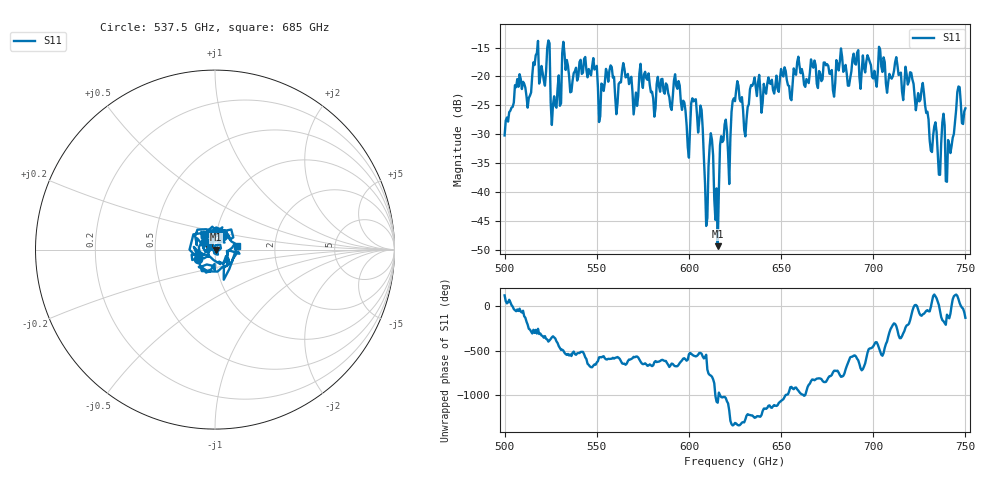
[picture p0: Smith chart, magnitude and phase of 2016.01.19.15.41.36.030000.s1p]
!Created with skrf (http://scikit-rf.org).
# GHz S RI R 50.0
!freq ReS11 ImS11
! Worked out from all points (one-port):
!   401 points, 500 GHz to 750 GHz, reference 50 ohm
!   lowest |S11| = -49.4 dB at 615.6 GHz (marker M1), VSWR 1.01, Z = 50.3 - j0.0199 ohm
!   |S11| at or under -10 dB: start of sweep to end of sweep
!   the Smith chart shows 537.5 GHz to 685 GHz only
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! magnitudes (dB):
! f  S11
! 500 GHz  -30.2
! 506.9 GHz  -20.5
! 513.1 GHz  -23.7
! 516.9 GHz  -16.3
! 523.1 GHz  -15.1
! 526.9 GHz  -23.4
! 531.2 GHz  -16.0
! 562.5 GHz  -21.0
! 593.8 GHz  -22.1
! 599.4 GHz  -32.2
! 602.5 GHz  -24.3
! 606.2 GHz  -25.0
! 609.4 GHz  -45.9
! 611.9 GHz  -29.8
! 615.6 GHz  -49.4
! 618.1 GHz  -31.3
! 621.9 GHz  -38.6
! 625 GHz  -24.3
! 630.6 GHz  -30.4
! 634.4 GHz  -21.6
! 656.2 GHz  -21.5
! 687.5 GHz  -20.3
! 718.8 GHz  -21.4
! 735.6 GHz  -37.0
! 737.5 GHz  -27.9
! 740.6 GHz  -31.0
! 746.2 GHz  -21.7
! 750 GHz  -25.5
